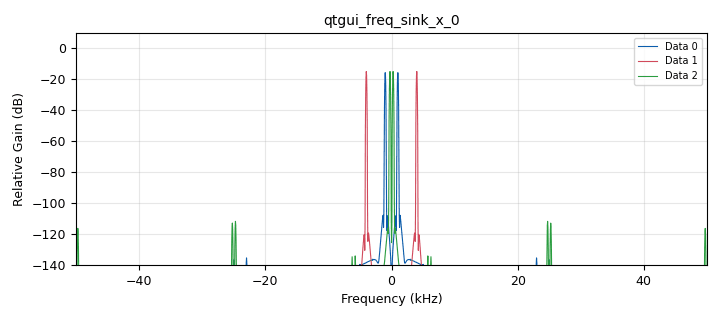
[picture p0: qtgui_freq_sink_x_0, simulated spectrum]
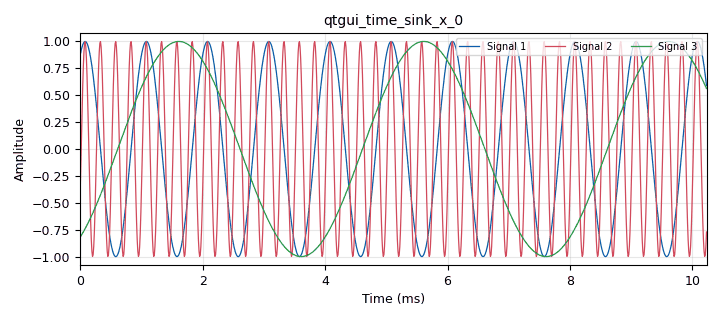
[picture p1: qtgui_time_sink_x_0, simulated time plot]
options:
  parameters:
    author: Daniel_Fernandez_L1A_Grupo3
    generate_options: qt_gui
    id: Daniel
    output_language: python
    title: Grupo3_P2_5
  states: {}

blocks:
- name: freq
  id: variable_qtgui_range
  parameters:
    label: frecuency
    start: '1000'
    step: '1000'
    stop: '40000'
    value: '1000'
  states: {}
- name: samp_rate
  id: variable
  parameters:
    value: '100000'
  states: {}
- name: analog_sig_source_x_0
  id: analog_sig_source_x
  parameters:
    amp: '1'
    freq: freq
    offset: '0'
    phase: '0'
    samp_rate: samp_rate
    type: float
    waveform: analog.GR_COS_WAVE
  states: {}
- name: analog_sig_source_x_0_0
  id: analog_sig_source_x
  parameters:
    amp: '1'
    freq: freq
    offset: '0'
    phase: '0'
    samp_rate: samp_rate
    type: float
    waveform: analog.GR_COS_WAVE
  states: {}
- name: analog_sig_source_x_0_1
  id: analog_sig_source_x
  parameters:
    amp: '1'
    freq: freq
    offset: '0'
    phase: '0'
    samp_rate: samp_rate
    type: float
    waveform: analog.GR_COS_WAVE
  states: {}
- name: blocks_throttle_0
  id: blocks_throttle
  parameters:
    samples_per_second: samp_rate
    type: float
  states: {}
- name: qtgui_freq_sink_x_0
  id: qtgui_freq_sink_x
  parameters:
    bw: samp_rate
    fc: '0'
    fftsize: '2048'
    nconnections: '3'
    type: float
  states: {}
- name: qtgui_time_sink_x_0
  id: qtgui_time_sink_x
  parameters:
    nconnections: '3'
    size: '1024'
    srate: samp_rate
    type: float
  states: {}
- name: rational_resampler_xxx_0
  id: rational_resampler_xxx
  parameters:
    decim: '1'
    interp: '1'
    type: fff
  states: {}
- name: rational_resampler_xxx_0_0
  id: rational_resampler_xxx
  parameters:
    decim: '1'
    interp: '4'
    type: fff
  states: {}
- name: rational_resampler_xxx_0_1
  id: rational_resampler_xxx
  parameters:
    decim: '4'
    interp: '1'
    type: fff
  states: {}

connections:
- [analog_sig_source_x_0, '0', rational_resampler_xxx_0, '0']
- [analog_sig_source_x_0_0, '0', rational_resampler_xxx_0_1, '0']
- [analog_sig_source_x_0_1, '0', rational_resampler_xxx_0_0, '0']
- [blocks_throttle_0, '0', qtgui_freq_sink_x_0, '0']
- [blocks_throttle_0, '0', qtgui_time_sink_x_0, '0']
- [rational_resampler_xxx_0, '0', blocks_throttle_0, '0']
- [rational_resampler_xxx_0_0, '0', qtgui_freq_sink_x_0, '2']
- [rational_resampler_xxx_0_0, '0', qtgui_time_sink_x_0, '2']
- [rational_resampler_xxx_0_1, '0', qtgui_freq_sink_x_0, '1']
- [rational_resampler_xxx_0_1, '0', qtgui_time_sink_x_0, '1']

metadata:
  file_format: 1
